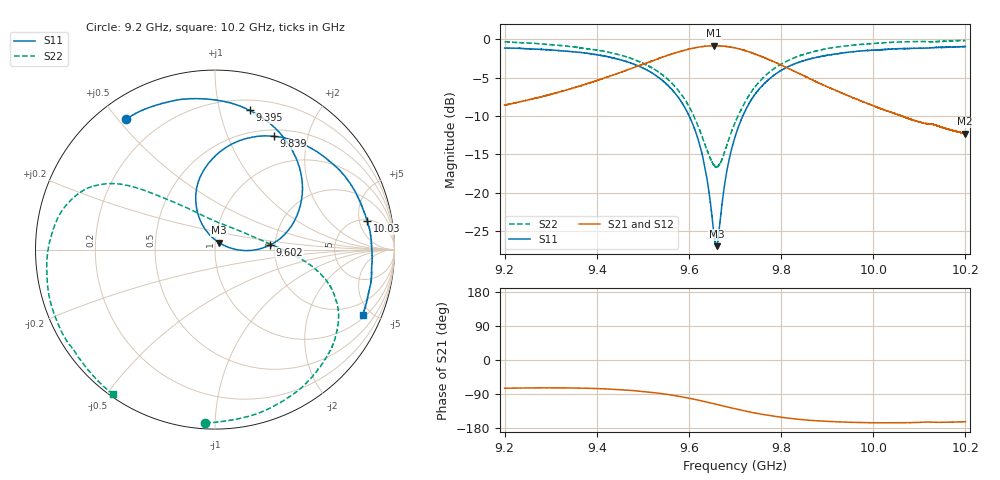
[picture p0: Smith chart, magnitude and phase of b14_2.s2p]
!Agilent Technologies,N5242A,MY51221714,A.09.90.19
!Agilent N5242A: A.09.90.19
!Date: Saturday, December 30, 2023 10:07:18
!Correction: S11(Full 2 Port(1,2))
!S21(Full 2 Port(1,2))
!S12(Full 2 Port(1,2))
!S22(Full 2 Port(1,2))
!S2P File: Measurements: S11, S21, S12, S22:
# Hz S  dB  R 50
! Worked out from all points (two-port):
!   16001 points, 9.2 GHz to 10.2 GHz, reference 50 ohm
!   highest |S21| = -0.81 dB at 9.654 GHz (marker M1); lowest = -12.3 dB at 10.2 GHz (marker M2)
!   |S21| within 3 dB of the highest: 9.474 GHz to 9.817 GHz (343.1 MHz wide, 3.56 % of centre)
!   lowest |S11| = -27.0 dB at 9.66 GHz (marker M3), VSWR 1.09, Z = 52.1 + j4.06 ohm
!   |S11| at or under -10 dB: 9.601 GHz to 9.717 GHz (116.3 MHz wide, 1.2 % of centre)
!   |S22| runs from -16.7 to -0.1 dB; largest |S21 - S12| = 0.012
!   S11 on the Smith chart (normalised r, x): 9.2 GHz: 0.08, +0.53; 9.395 GHz: 0.29, +1.24; 9.602 GHz: 1.88, +0.11; 9.839 GHz: 0.58, +1.48; 10.03 GHz: 5.21, +6.53; 10.2 GHz: 1.15, -4.42
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9.2e9  -1.12 124.3  -8.57 -74.5  -8.55 -75.2  -0.29 -93.1
9.277938e9  -1.30 106.1  -7.51 -73.6  -7.50 -74.1  -0.57 -72.1
9.366688e9  -1.71 84.0  -6.01 -74.3  -6.00 -75.0  -1.11 -49.2
9.39525e9  -1.94 76.1  -5.47 -75.2  -5.44 -75.9  -1.34 -42.2
9.4645e9  -2.89 55.3  -4.02 -79.4  -4.01 -80.0  -2.25 -26.8
9.533375e9  -4.92 31.4  -2.50 -87.5  -2.50 -88.1  -4.22 -13.7
9.602438e9  -10.23 4.8  -1.22 -101.4  -1.21 -102.1  -9.01 1.7
9.632312e9  -16.02 -1.5  -0.90 -109.2  -0.90 -109.9  -13.30 20.5
9.653812e9  -25.11 25.1  -0.81 -115.4  -0.81 -116.0  -16.39 54.7
9.659875e9  -26.98 60.2  -0.82 -117.1  -0.81 -117.7  -16.58 68.4
9.68175e9  -17.37 116.5  -0.91 -123.5  -0.90 -124.1  -13.91 109.8
9.7e9  -12.76 114.9  -1.10 -128.7  -1.08 -129.3  -10.88 124.5
9.75225e9  -6.50 95.1  -2.10 -141.9  -2.08 -142.6  -5.55 140.6
9.795e9  -4.24 78.4  -3.20 -150.2  -3.20 -150.9  -3.41 147.0
9.838875e9  -2.97 62.6  -4.43 -156.5  -4.43 -157.2  -2.15 153.6
9.866688e9  -2.48 53.6  -5.25 -159.5  -5.23 -160.2  -1.65 158.2
9.948812e9  -1.63 30.6  -7.43 -164.2  -7.42 -164.8  -0.79 174.4
1.003069e10  -1.29 10.7  -9.34 -165.6  -9.33 -166.3  -0.39 -167.4
1.003338e10  -1.27 10.1  -9.39 -165.6  -9.39 -166.3  -0.39 -166.8
1.010644e10  -1.14 -5.3  -10.88 -164.3  -10.87 -164.9  -0.26 -149.3
1.019919e10  -0.93 -23.8  -12.30 -163.1  -12.28 -164.0  -0.14 -125.6
1.02e10  -0.92 -24.0  -12.29 -163.1  -12.29 -163.9  -0.13 -125.4
